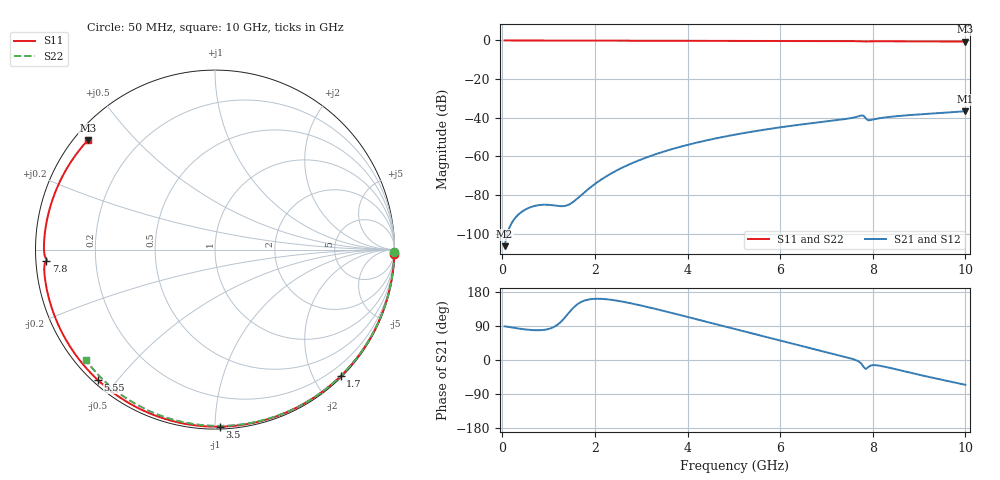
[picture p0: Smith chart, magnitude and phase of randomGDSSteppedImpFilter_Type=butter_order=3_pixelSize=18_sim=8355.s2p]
! freq	dB(S11)	phase(S11)	dB(S12)	phase(S12)
!  dB(S21)	phase(S21)	dB(S22)	phase(S22)
!S-par simulation data
#  GHz  S  DB  R 50
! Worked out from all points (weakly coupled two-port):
!   200 points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, 50 MHz to 10 GHz, reference 50 ohm
!   highest |S21| = -36.64 dB at 10 GHz (marker M1); lowest = -106.6 dB at 50 MHz (marker M2)
!   lowest |S11| = -0.6 dB at 10 GHz (marker M3), VSWR 29.72, Z = 1.91 + j18.5 ohm
!   |S11| at or under -10 dB: nowhere
!   |S22| runs from -0.5 to 0.0 dB; largest |S21 - S12| = 0
!   S11 on the Smith chart (normalised r, x): 50 MHz: 0, -84; 1.7 GHz: 0.02, -2.40; 3.5 GHz: 0.01, -1.03; 5.55 GHz: 0.01, -0.45; 7.8 GHz: 0.03, -0.03; 10 GHz: 0.04, +0.37
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0.05  -0.00 -1.4  -106.55 89.0  -106.55 89.0  -0.00 -0.8
0.45  -0.02 -12.2  -88.27 81.4  -88.27 81.4  -0.01 -7.2
0.85  -0.03 -22.9  -85.14 78.9  -85.14 78.9  -0.02 -13.6
1.7  -0.06 -45.2  -80.23 152.9  -80.23 152.9  -0.03 -27.1
1.75  -0.06 -46.4  -79.18 155.7  -79.18 155.7  -0.04 -27.9
2.1  -0.07 -55.3  -72.64 161.6  -72.64 161.6  -0.04 -33.3
2.45  -0.08 -63.9  -67.61 157.1  -67.61 157.1  -0.05 -38.7
2.9  -0.09 -74.7  -62.58 146.4  -62.58 146.4  -0.06 -45.5
3.4  -0.11 -86.3  -58.22 132.1  -58.22 132.1  -0.07 -53.0
3.5  -0.11 -88.5  -57.46 129.0  -57.46 129.0  -0.07 -54.5
4.25  -0.14 -105.0  -52.63 105.9  -52.63 105.9  -0.09 -65.4
5.05  -0.18 -121.8  -48.67 80.9  -48.67 80.9  -0.12 -76.6
5.55  -0.20 -131.9  -46.63 65.3  -46.63 65.3  -0.14 -83.4
6.15  -0.24 -143.8  -44.50 46.7  -44.50 46.7  -0.16 -91.4
6.7  -0.28 -154.5  -42.79 29.8  -42.79 29.8  -0.19 -98.6
7.4  -0.34 -168.2  -40.71 8.3  -40.71 8.3  -0.23 -107.6
7.75  -0.44 -175.5  -38.86 -9.3  -38.86 -9.3  -0.26 -112.0
7.8  -0.53 -176.3  -38.94 -18.0  -38.94 -18.0  -0.26 -112.6
7.9  -0.49 -177.2  -41.36 -19.0  -41.36 -19.0  -0.27 -113.9
8.35  -0.43 173.6  -39.63 -20.2  -39.63 -20.2  -0.31 -119.4
9.15  -0.50 157.4  -38.07 -43.1  -38.07 -43.1  -0.38 -129.2
10  -0.58 139.3  -36.64 -65.5  -36.64 -65.5  -0.47 -139.6
